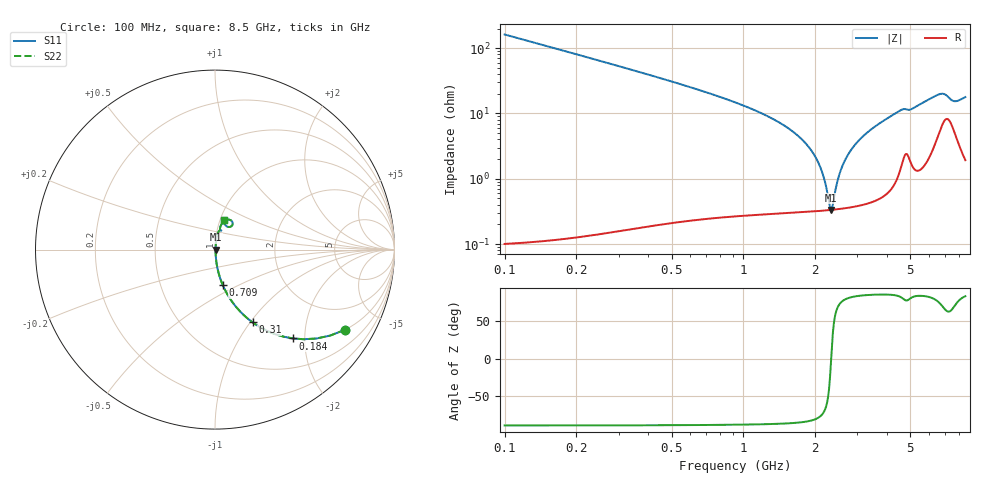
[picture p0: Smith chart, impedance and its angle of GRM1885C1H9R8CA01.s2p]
!Murata Part Number: GRM1885C1H9R8CA01
!These Parameters are Measured in Series Mode Connection
!Data Generated on Mar 30, 2021
!  o--ll--o
!Port1  Port2
!  o------o
!Operation Temp=25[degC], DC Bias Voltage=0[V]
!Freq. Start=100[MHz] Stop=9[GHz] 401[Steps]
# Hz S RI R 50
!Freq.(Hz) S11(Real) S11(Imag) S21(Real) S21(Imag) S12(Real) S12(Imag) S22(Real) S22(Imag)
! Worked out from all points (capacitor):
!   401 points, 100 MHz to 8.5 GHz, reference 50 ohm
!   read as one part in series: C = 9.81 pF near 142 MHz
!   lowest |Z| = 334 mohm at 2.326 GHz (marker M1)
!   series resonance near 2.33 GHz, so ESL is about 480 pH
!   S11 on the Smith chart (normalised r, x): 100 MHz: 1.00, -3.24; 184 MHz: 1.00, -1.75; 310 MHz: 1.00, -1.03; 709 MHz: 1.00, -0.41; 8.5 GHz: 1.04, +0.35
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1e8  0.7241 -0.4466  0.2759 0.4466  0.2759 0.4466  0.7241 -0.4466
1.84e8  0.4345 -0.495  0.5655 0.495  0.5655 0.495  0.4345 -0.495
3.1e8  0.2096 -0.4055  0.7904 0.4055  0.7904 0.4055  0.2096 -0.4055
4.57e8  0.1055 -0.3043  0.8945 0.3043  0.8945 0.3043  0.1055 -0.3043
7.09e8  0.0433 -0.1978  0.9567 0.1978  0.9567 0.1978  0.0433 -0.1978
1.507e9  0.00684 -0.0621  0.9932 0.0621  0.9932 0.0621  0.00684 -0.0621
1.822e9  0.00428 -0.0345  0.9957 0.0345  0.9957 0.0345  0.00428 -0.0345
2.032e9  0.00354 -0.0191  0.9965 0.0191  0.9965 0.0191  0.00354 -0.0191
2.158e9  0.00335 -0.0107  0.9967 0.0107  0.9967 0.0107  0.00335 -0.0107
2.284e9  0.0033 -0.00279  0.9967 0.00279  0.9967 0.00279  0.0033 -0.00279
2.326e9  0.00332 -0.000245  0.9967 0.000245  0.9967 0.000245  0.00332 -0.000245
2.368e9  0.00335 0.00225  0.9967 -0.00225  0.9967 -0.00225  0.00335 0.00225
2.473e9  0.00347 0.00833  0.9965 -0.00833  0.9965 -0.00833  0.00347 0.00833
2.578e9  0.00367 0.0142  0.9963 -0.0142  0.9963 -0.0142  0.00367 0.0142
2.914e9  0.00473 0.0317  0.9953 -0.0317  0.9953 -0.0317  0.00473 0.0317
3.46e9  0.00773 0.0577  0.9923 -0.0577  0.9923 -0.0577  0.00773 0.0577
4.3e9  0.0176 0.096  0.9824 -0.096  0.9824 -0.096  0.0176 0.096
5.707e9  0.0361 0.1413  0.9639 -0.1413  0.9639 -0.1413  0.0361 0.1413
6.61e9  0.0789 0.1667  0.9211 -0.1667  0.9211 -0.1667  0.0789 0.1667
7.114e9  0.0977 0.1394  0.9023 -0.1394  0.9023 -0.1394  0.0977 0.1394
7.66e9  0.066 0.1291  0.934 -0.1291  0.934 -0.1291  0.066 0.1291
8.5e9  0.0477 0.1656  0.9523 -0.1656  0.9523 -0.1656  0.0477 0.1656
